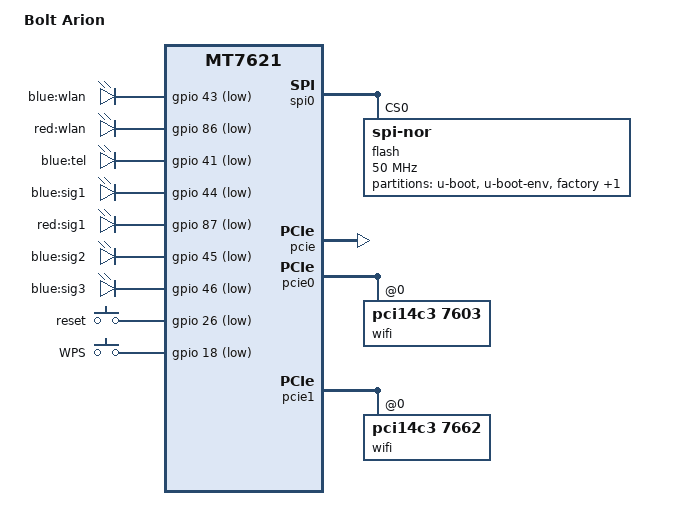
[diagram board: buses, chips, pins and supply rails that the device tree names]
// SPDX-License-Identifier: GPL-2.0-or-later OR MIT

#include "mt7621.dtsi"

#include <dt-bindings/gpio/gpio.h>
#include <dt-bindings/input/input.h>

/ {
	compatible = "bolt,arion", "mediatek,mt7621-soc";
	model = "Bolt Arion";

	aliases {
		label-mac-device = &wan;
	};

	chosen {
		bootargs = "console=ttyS0,57600n8";
	};

	leds {
		compatible = "gpio-leds";

		led_wlan_blue: wlan_blue {
			label = "blue:wlan";
			gpios = <&gpio 43 GPIO_ACTIVE_LOW>;
		};

		led_wlan_red: wlan_red {
			label = "red:wlan";
			gpios = <&gpio 86 GPIO_ACTIVE_LOW>;
		};

		led_tel_blue: tel_blue {
			label = "blue:tel";
			gpios = <&gpio 41 GPIO_ACTIVE_LOW>;
		};

		led_sig1_blue: sig1_blue {
			label = "blue:sig1";
			gpios = <&gpio 44 GPIO_ACTIVE_LOW>;
		};

		led_sig1_red: sig1_red {
			label = "red:sig1";
			gpios = <&gpio 87 GPIO_ACTIVE_LOW>;
		};

		led_sig2_blue: sig2_blue {
			label = "blue:sig2";
			gpios = <&gpio 45 GPIO_ACTIVE_LOW>;
		};

		led_sig3_blue: sig3_blue {
			label = "blue:sig3";
			gpios = <&gpio 46 GPIO_ACTIVE_LOW>;
		};
	};

	keys {
		compatible = "gpio-keys";

		reset {
			label = "reset";
			gpios = <&gpio 26 GPIO_ACTIVE_LOW>;
			linux,code = <KEY_RESTART>;
		};

		wps {
			label = "WPS";
			gpios = <&gpio 18 GPIO_ACTIVE_LOW>;
			linux,code = <KEY_WPS_BUTTON>;
		};
	};
};

&spi0 {
	status = "okay";

	flash@0 {
		compatible = "jedec,spi-nor";
		reg = <0>;
		spi-max-frequency = <50000000>;
		m25p,fast-read;

		partitions {
			compatible = "fixed-partitions";
			#address-cells = <1>;
			#size-cells = <1>;

			partition@0 {
				label = "u-boot";
				reg = <0x0 0x20000>;
				read-only;
			};

			partition@30000 {
				label = "u-boot-env";
				reg = <0x20000 0x20000>;
				read-only;
			};

			factory: partition@40000 {
				label = "factory";
				reg = <0x40000 0x10000>;
				read-only;
			};

			partition@50000 {
				compatible = "denx,uimage";
				label = "firmware";
				reg = <0x50000 0x1fb0000>;
			};
		};
	};
};

&pcie {
	status = "okay";
};

&pcie0 {
	wifi@0,0 {
		compatible = "pci14c3,7603";
		reg = <0x0000 0 0 0 0>;
		mediatek,mtd-eeprom = <&factory 0x0000>;
		ieee80211-freq-limit = <2400000 2500000>;
	};
};

&pcie1 {
	wifi@0,0 {
		compatible = "pci14c3,7662";
		reg = <0x0000 0 0 0 0>;
		mediatek,mtd-eeprom = <&factory 0x8000>;
		ieee80211-freq-limit = <5000000 6000000>;
	};
};

&gmac0 {
	nvmem-cells = <&macaddr_factory_4000>;
	nvmem-cell-names = "mac-address";
	mac-address-increment = <3>;
};

&switch0 {
	ports {
		port@0 {
			status = "okay";
			label = "modem";
		};

		wan: port@1 {
			status = "okay";
			label = "wan";
			nvmem-cells = <&macaddr_factory_4000>;
			nvmem-cell-names = "mac-address";
		};

		port@2 {
			status = "okay";
			label = "lan";
		};
	};
};

&ethernet {
	pinctrl-0 = <&mdio_pins>, <&rgmii1_pins>;
};

&state_default {
	gpio {
		groups = "jtag", "uart2", "uart3", "wdt", "rgmii2";
		function = "gpio";
	};
};

&factory {
	compatible = "nvmem-cells";
	#address-cells = <1>;
	#size-cells = <1>;

	macaddr_factory_4000: macaddr@4000 {
		reg = <0x28 0x6>;
	};
};
